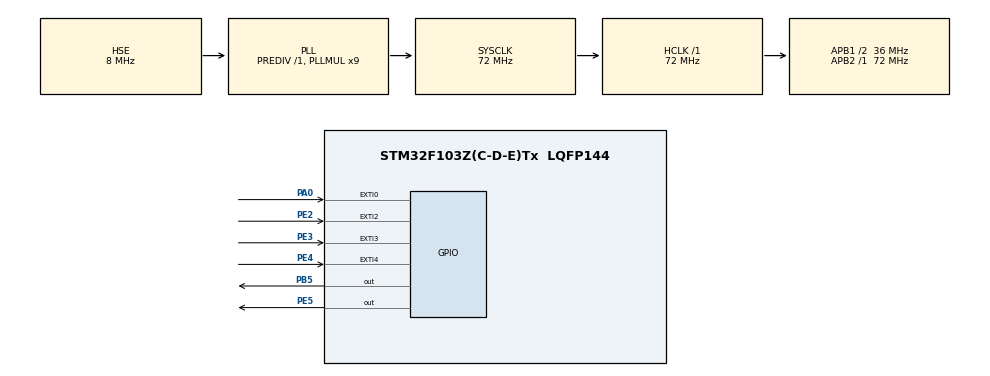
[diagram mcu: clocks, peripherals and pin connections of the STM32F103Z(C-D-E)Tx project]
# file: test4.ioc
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Mcu.Family=STM32F1
Mcu.Name=STM32F103Z(C-D-E)Tx
Mcu.Package=LQFP144
NVIC.EXTI0_IRQn=true\:2\:0\:true\:false\:true\:true\:true\:true
NVIC.EXTI2_IRQn=true\:2\:0\:true\:false\:true\:true\:true\:true
NVIC.EXTI3_IRQn=true\:2\:0\:true\:false\:true\:true\:true\:true
NVIC.EXTI4_IRQn=true\:2\:0\:true\:false\:true\:true\:true\:true
NVIC.PriorityGroup=NVIC_PRIORITYGROUP_4
OSC_IN.Mode=HSE-External-Oscillator
OSC_IN.Signal=RCC_OSC_IN
OSC_OUT.Mode=HSE-External-Oscillator
OSC_OUT.Signal=RCC_OSC_OUT
PA0-WKUP.GPIO_PuPd=GPIO_PULLDOWN
PA0-WKUP.Signal=GPXTI0
PA13.Mode=Serial_Wire
PA13.Signal=SYS_JTMS-SWDIO
PA14.Mode=Serial_Wire
PA14.Signal=SYS_JTCK-SWCLK
PB5.GPIO_ModeDefaultOutputPP=GPIO_MODE_OUTPUT_PP
PB5.GPIO_PuPd=GPIO_PULLUP
PB5.GPIO_Speed=GPIO_SPEED_FREQ_HIGH
PB5.Signal=GPIO_Output
PE2.GPIO_ModeDefaultEXTI=GPIO_MODE_IT_FALLING
PE2.GPIO_PuPd=GPIO_PULLUP
PE2.Signal=GPXTI2
PE3.GPIO_ModeDefaultEXTI=GPIO_MODE_IT_FALLING
PE3.GPIO_PuPd=GPIO_PULLUP
PE3.Signal=GPXTI3
PE4.GPIO_ModeDefaultEXTI=GPIO_MODE_IT_FALLING
PE4.GPIO_PuPd=GPIO_PULLUP
PE4.Signal=GPXTI4
PE5.GPIO_ModeDefaultOutputPP=GPIO_MODE_OUTPUT_PP
PE5.GPIO_PuPd=GPIO_PULLUP
PE5.GPIO_Speed=GPIO_SPEED_FREQ_HIGH
PE5.Signal=GPIO_Output
ProjectManager.HeapSize=0x200
ProjectManager.StackSize=0x400
ProjectManager.TargetToolchain=MDK-ARM V5.32
RCC.AHBFreq_Value=72000000
RCC.APB1CLKDivider=RCC_HCLK_DIV2
RCC.APB1Freq_Value=36000000
RCC.APB1TimFreq_Value=72000000
RCC.APB2Freq_Value=72000000
RCC.APB2TimFreq_Value=72000000
RCC.HCLKFreq_Value=72000000
RCC.PLLMUL=RCC_PLL_MUL9
RCC.PLLSourceVirtual=RCC_PLLSOURCE_HSE
RCC.SYSCLKFreq_VALUE=72000000
RCC.SYSCLKSource=RCC_SYSCLKSOURCE_PLLCLK
RCC.USBFreq_Value=72000000
board=custom

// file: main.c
/* USER CODE BEGIN Header */
/**
 ******************************************************************************
 * @file           : main.c
 * @brief          : Main program body
 ******************************************************************************
 * @attention
 *
 * Copyright (c) 2023 STMicroelectronics.
 * All rights reserved.
 *
 * This software is licensed under terms that can be found in the LICENSE file
 * in the root directory of this software component.
 * If no LICENSE file comes with this software, it is provided AS-IS.
 *
 ******************************************************************************
 */
/* USER CODE END Header */
#include "main.h"
#include "gpio.h"

/* USER CODE BEGIN PD */
#define KEY0 HAL_GPIO_ReadPin(GPIOE, GPIO_PIN_4)
#define KEY1 HAL_GPIO_ReadPin(GPIOE, GPIO_PIN_3)
#define KEY2 HAL_GPIO_ReadPin(GPIOE, GPIO_PIN_2)
#define WK_UP HAL_GPIO_ReadPin(GPIOA, GPIO_PIN_0)

#define LED0 HAL_GPIO_ReadPin(GPIOB, GPIO_PIN_5)
#define LED1 HAL_GPIO_ReadPin(GPIOE, GPIO_PIN_5)
/* USER CODE END PD */

void SystemClock_Config(void);

/* USER CODE BEGIN 0 */
void Delay(uint32_t nCount)
{
  for (; nCount != 0; nCount--)
    ;
}

void HAL_GPIO_EXTI_Callback(uint16_t GPIO_Pin)
{
  Delay(10000);
  switch (GPIO_Pin)
  {
    case GPIO_PIN_0:
      if (WK_UP == 1)
      {
        HAL_GPIO_WritePin(GPIOB, GPIO_PIN_5, !LED1);
        HAL_GPIO_WritePin(GPIOE, GPIO_PIN_5, !LED1);
      }
      break;
    case GPIO_PIN_2:
      if (KEY2 == 0) // LED1 翻转
      {
        HAL_GPIO_TogglePin(GPIOE, GPIO_PIN_5);
      }
      break;
    case GPIO_PIN_3:
      if (KEY1 == 0) // 同时控制 LED0,LED1 翻转
      {
        HAL_GPIO_TogglePin(GPIOB, GPIO_PIN_5);
        HAL_GPIO_TogglePin(GPIOE, GPIO_PIN_5);
      }
      break;
    case GPIO_PIN_4:
      if (KEY0 == 0)
      {
        HAL_GPIO_TogglePin(GPIOB, GPIO_PIN_5);
      }
      break;

    default:
      break;
  }
}
/* USER CODE END 0 */

int main(void)
{

  /* MCU Configuration--------------------------------------------------------*/

  /* Reset of all peripherals, Initializes the Flash interface and the Systick. */
  HAL_Init();

  /* Configure the system clock */
  SystemClock_Config();

  /* Initialize all configured peripherals */
  MX_GPIO_Init();

  /* Infinite loop */
  while (1)
  {

  }
}

void SystemClock_Config(void)
{
  RCC_OscInitTypeDef RCC_OscInitStruct = {0};
  RCC_ClkInitTypeDef RCC_ClkInitStruct = {0};

  /** Initializes the RCC Oscillators according to the specified parameters
  * in the RCC_OscInitTypeDef structure.
  */
  RCC_OscInitStruct.OscillatorType = RCC_OSCILLATORTYPE_HSE;
  RCC_OscInitStruct.HSEState = RCC_HSE_ON;
  RCC_OscInitStruct.HSEPredivValue = RCC_HSE_PREDIV_DIV1;
  RCC_OscInitStruct.HSIState = RCC_HSI_ON;
  RCC_OscInitStruct.PLL.PLLState = RCC_PLL_ON;
  RCC_OscInitStruct.PLL.PLLSource = RCC_PLLSOURCE_HSE;
  RCC_OscInitStruct.PLL.PLLMUL = RCC_PLL_MUL9;
  if (HAL_RCC_OscConfig(&RCC_OscInitStruct) != HAL_OK)
  {
    Error_Handler();
  }

  /** Initializes the CPU, AHB and APB buses clocks
  */
  RCC_ClkInitStruct.ClockType = RCC_CLOCKTYPE_HCLK|RCC_CLOCKTYPE_SYSCLK
                              |RCC_CLOCKTYPE_PCLK1|RCC_CLOCKTYPE_PCLK2;
  RCC_ClkInitStruct.SYSCLKSource = RCC_SYSCLKSOURCE_PLLCLK;
  RCC_ClkInitStruct.AHBCLKDivider = RCC_SYSCLK_DIV1;
  RCC_ClkInitStruct.APB1CLKDivider = RCC_HCLK_DIV2;
  RCC_ClkInitStruct.APB2CLKDivider = RCC_HCLK_DIV1;

  if (HAL_RCC_ClockConfig(&RCC_ClkInitStruct, FLASH_LATENCY_2) != HAL_OK)
  {
    Error_Handler();
  }
}

void Error_Handler(void)
{
  __disable_irq();
  while (1)
  {
  }
}
